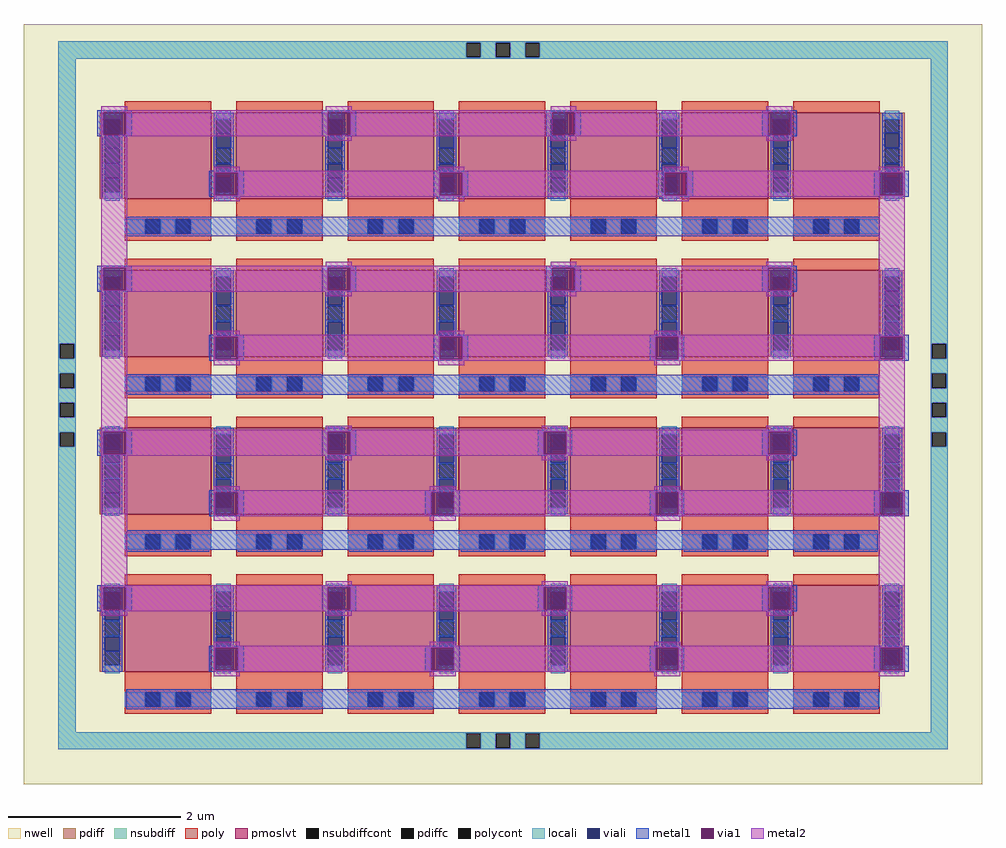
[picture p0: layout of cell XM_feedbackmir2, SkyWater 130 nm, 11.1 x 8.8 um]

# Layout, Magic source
magic
tech sky130A
magscale 1 2
<< nwell >>
rect -140 -160 2080 1600
<< nsubdiff >>
rect -60 1557 2000 1560
rect -60 1523 885 1557
rect 919 1523 953 1557
rect 987 1523 1021 1557
rect 1055 1523 2000 1557
rect -60 1520 2000 1523
rect -60 859 -20 1520
rect -60 825 -57 859
rect -23 825 -20 859
rect -60 791 -20 825
rect -60 757 -57 791
rect -23 757 -20 791
rect -60 723 -20 757
rect -60 689 -57 723
rect -23 689 -20 723
rect -60 655 -20 689
rect -60 621 -57 655
rect -23 621 -20 655
rect -60 -40 -20 621
rect 1960 859 2000 1520
rect 1960 825 1963 859
rect 1997 825 2000 859
rect 1960 791 2000 825
rect 1960 757 1963 791
rect 1997 757 2000 791
rect 1960 723 2000 757
rect 1960 689 1963 723
rect 1997 689 2000 723
rect 1960 655 2000 689
rect 1960 621 1963 655
rect 1997 621 2000 655
rect 1960 -40 2000 621
rect -60 -43 2000 -40
rect -60 -77 885 -43
rect 919 -77 953 -43
rect 987 -77 1021 -43
rect 1055 -77 2000 -43
rect -60 -80 2000 -77
<< nsubdiffcont >>
rect 885 1523 919 1557
rect 953 1523 987 1557
rect 1021 1523 1055 1557
rect -57 825 -23 859
rect -57 757 -23 791
rect -57 689 -23 723
rect -57 621 -23 655
rect 1963 825 1997 859
rect 1963 757 1997 791
rect 1963 689 1997 723
rect 1963 621 1997 655
rect 885 -77 919 -43
rect 953 -77 987 -43
rect 1021 -77 1055 -43
<< locali >>
rect -60 1557 2000 1560
rect -60 1523 885 1557
rect 919 1523 953 1557
rect 987 1523 1021 1557
rect 1055 1523 2000 1557
rect -60 1520 2000 1523
rect -60 859 -20 1520
rect -60 825 -57 859
rect -23 825 -20 859
rect -60 791 -20 825
rect -60 757 -57 791
rect -23 757 -20 791
rect -60 723 -20 757
rect -60 689 -57 723
rect -23 689 -20 723
rect -60 655 -20 689
rect -60 621 -57 655
rect -23 621 -20 655
rect -60 -40 -20 621
rect 1960 859 2000 1520
rect 1960 825 1963 859
rect 1997 825 2000 859
rect 1960 791 2000 825
rect 1960 757 1963 791
rect 1997 757 2000 791
rect 1960 723 2000 757
rect 1960 689 1963 723
rect 1997 689 2000 723
rect 1960 655 2000 689
rect 1960 621 1963 655
rect 1997 621 2000 655
rect 1960 -40 2000 621
rect -60 -43 2000 -40
rect -60 -77 885 -43
rect 919 -77 953 -43
rect 987 -77 1021 -43
rect 1055 -77 2000 -43
rect -60 -80 2000 -77
<< metal1 >>
rect 30 1396 110 1400
rect 30 1344 44 1396
rect 96 1344 110 1396
rect 30 1340 110 1344
rect 550 1396 630 1400
rect 550 1344 564 1396
rect 616 1344 630 1396
rect 550 1340 630 1344
rect 1070 1396 1150 1400
rect 1070 1344 1084 1396
rect 1136 1344 1150 1396
rect 1070 1340 1150 1344
rect 1570 1396 1650 1400
rect 1570 1344 1584 1396
rect 1636 1344 1650 1396
rect 1570 1340 1650 1344
rect 290 1256 370 1260
rect 290 1204 304 1256
rect 356 1204 370 1256
rect 290 1200 370 1204
rect 810 1256 890 1260
rect 810 1204 824 1256
rect 876 1204 890 1256
rect 810 1200 890 1204
rect 1330 1256 1410 1260
rect 1330 1204 1344 1256
rect 1396 1204 1410 1256
rect 1330 1200 1410 1204
rect 1830 1256 1910 1260
rect 1830 1204 1844 1256
rect 1896 1204 1910 1256
rect 1830 1200 1910 1204
rect 104 1108 1842 1154
rect 30 1036 110 1040
rect 30 984 44 1036
rect 96 984 110 1036
rect 30 980 110 984
rect 550 1036 630 1040
rect 550 984 564 1036
rect 616 984 630 1036
rect 550 980 630 984
rect 1070 1036 1150 1040
rect 1070 984 1084 1036
rect 1136 984 1150 1036
rect 1070 980 1150 984
rect 1570 1036 1650 1040
rect 1570 984 1584 1036
rect 1636 984 1650 1036
rect 1570 980 1650 984
rect 290 876 370 880
rect 290 824 304 876
rect 356 824 370 876
rect 290 820 370 824
rect 810 876 890 880
rect 810 824 824 876
rect 876 824 890 876
rect 810 820 890 824
rect 1310 876 1390 880
rect 1310 824 1324 876
rect 1376 824 1390 876
rect 1310 820 1390 824
rect 1830 876 1910 880
rect 1830 824 1844 876
rect 1896 824 1910 876
rect 1830 820 1910 824
rect 102 742 1840 788
rect 30 656 110 660
rect 30 604 44 656
rect 96 604 110 656
rect 30 600 110 604
rect 550 656 630 660
rect 550 604 564 656
rect 616 604 630 656
rect 550 600 630 604
rect 1050 656 1130 660
rect 1050 604 1064 656
rect 1116 604 1130 656
rect 1050 600 1130 604
rect 1570 656 1650 660
rect 1570 604 1584 656
rect 1636 604 1650 656
rect 1570 600 1650 604
rect 290 516 370 520
rect 290 464 304 516
rect 356 464 370 516
rect 290 460 370 464
rect 790 516 870 520
rect 790 464 804 516
rect 856 464 870 516
rect 790 460 870 464
rect 1310 516 1390 520
rect 1310 464 1324 516
rect 1376 464 1390 516
rect 1310 460 1390 464
rect 1830 516 1910 520
rect 1830 464 1844 516
rect 1896 464 1910 516
rect 1830 460 1910 464
rect 100 382 1838 428
rect 30 296 110 300
rect 30 244 44 296
rect 96 244 110 296
rect 30 240 110 244
rect 550 296 630 300
rect 550 244 564 296
rect 616 244 630 296
rect 550 240 630 244
rect 1050 296 1130 300
rect 1050 244 1064 296
rect 1116 244 1130 296
rect 1050 240 1130 244
rect 1570 296 1650 300
rect 1570 244 1584 296
rect 1636 244 1650 296
rect 1570 240 1650 244
rect 290 156 370 160
rect 290 104 304 156
rect 356 104 370 156
rect 290 100 370 104
rect 790 156 870 160
rect 790 104 804 156
rect 856 104 870 156
rect 790 100 870 104
rect 1310 156 1390 160
rect 1310 104 1324 156
rect 1376 104 1390 156
rect 1310 100 1390 104
rect 1830 156 1910 160
rect 1830 104 1844 156
rect 1896 104 1910 156
rect 1830 100 1910 104
rect 102 14 1840 60
<< via1 >>
rect 44 1344 96 1396
rect 564 1344 616 1396
rect 1084 1344 1136 1396
rect 1584 1344 1636 1396
rect 304 1204 356 1256
rect 824 1204 876 1256
rect 1344 1204 1396 1256
rect 1844 1204 1896 1256
rect 44 984 96 1036
rect 564 984 616 1036
rect 1084 984 1136 1036
rect 1584 984 1636 1036
rect 304 824 356 876
rect 824 824 876 876
rect 1324 824 1376 876
rect 1844 824 1896 876
rect 44 604 96 656
rect 564 604 616 656
rect 1064 604 1116 656
rect 1584 604 1636 656
rect 304 464 356 516
rect 804 464 856 516
rect 1324 464 1376 516
rect 1844 464 1896 516
rect 44 244 96 296
rect 564 244 616 296
rect 1064 244 1116 296
rect 1584 244 1636 296
rect 304 104 356 156
rect 804 104 856 156
rect 1324 104 1376 156
rect 1844 104 1896 156
<< metal2 >>
rect 40 1400 100 1410
rect 560 1400 620 1410
rect 1080 1400 1140 1410
rect 1580 1400 1640 1410
rect 40 1396 1640 1400
rect 40 1344 44 1396
rect 96 1344 564 1396
rect 616 1344 1084 1396
rect 1136 1344 1584 1396
rect 1636 1344 1640 1396
rect 40 1340 1640 1344
rect 40 1040 100 1340
rect 560 1330 620 1340
rect 1080 1330 1140 1340
rect 1580 1330 1640 1340
rect 300 1260 360 1270
rect 820 1260 880 1270
rect 1340 1260 1400 1270
rect 1840 1260 1900 1270
rect 300 1256 1900 1260
rect 300 1204 304 1256
rect 356 1204 824 1256
rect 876 1204 1344 1256
rect 1396 1204 1844 1256
rect 1896 1204 1900 1256
rect 300 1200 1900 1204
rect 300 1190 360 1200
rect 820 1190 880 1200
rect 1340 1190 1400 1200
rect 560 1040 620 1050
rect 1080 1040 1140 1050
rect 1580 1040 1640 1050
rect 40 1036 1640 1040
rect 40 984 44 1036
rect 96 984 564 1036
rect 616 984 1084 1036
rect 1136 984 1584 1036
rect 1636 984 1640 1036
rect 40 980 1640 984
rect 40 660 100 980
rect 560 970 620 980
rect 1080 970 1140 980
rect 1580 970 1640 980
rect 300 880 360 890
rect 820 880 880 890
rect 1320 880 1380 890
rect 1840 880 1900 1200
rect 300 876 1900 880
rect 300 824 304 876
rect 356 824 824 876
rect 876 824 1324 876
rect 1376 824 1844 876
rect 1896 824 1900 876
rect 300 820 1900 824
rect 300 810 360 820
rect 820 810 880 820
rect 1320 810 1380 820
rect 560 660 620 670
rect 1060 660 1120 670
rect 1580 660 1640 670
rect 40 656 1640 660
rect 40 604 44 656
rect 96 604 564 656
rect 616 604 1064 656
rect 1116 604 1584 656
rect 1636 604 1640 656
rect 40 600 1640 604
rect 40 300 100 600
rect 560 590 620 600
rect 1060 590 1120 600
rect 1580 590 1640 600
rect 300 520 360 530
rect 800 520 860 530
rect 1320 520 1380 530
rect 1840 520 1900 820
rect 300 516 1900 520
rect 300 464 304 516
rect 356 464 804 516
rect 856 464 1324 516
rect 1376 464 1844 516
rect 1896 464 1900 516
rect 300 460 1900 464
rect 300 450 360 460
rect 800 450 860 460
rect 1320 450 1380 460
rect 560 300 620 310
rect 1060 300 1120 310
rect 1580 300 1640 310
rect 40 296 1640 300
rect 40 244 44 296
rect 96 244 564 296
rect 616 244 1064 296
rect 1116 244 1584 296
rect 1636 244 1640 296
rect 40 240 1640 244
rect 40 230 100 240
rect 560 230 620 240
rect 1060 230 1120 240
rect 1580 230 1640 240
rect 300 160 360 170
rect 800 160 860 170
rect 1320 160 1380 170
rect 1840 160 1900 460
rect 300 156 1900 160
rect 300 104 304 156
rect 356 104 804 156
rect 856 104 1324 156
rect 1376 104 1844 156
rect 1896 104 1900 156
rect 300 100 1900 104
rect 300 90 360 100
rect 800 90 860 100
rect 1320 90 1380 100
rect 1840 90 1900 100
use sky130_fd_pr__pfet_01v8_lvt_9UM225  sky130_fd_pr__pfet_01v8_lvt_9UM225_0
transform 1 0 968 0 1 712
box -968 -712 968 745
<< end >>

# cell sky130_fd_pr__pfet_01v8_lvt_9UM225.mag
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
